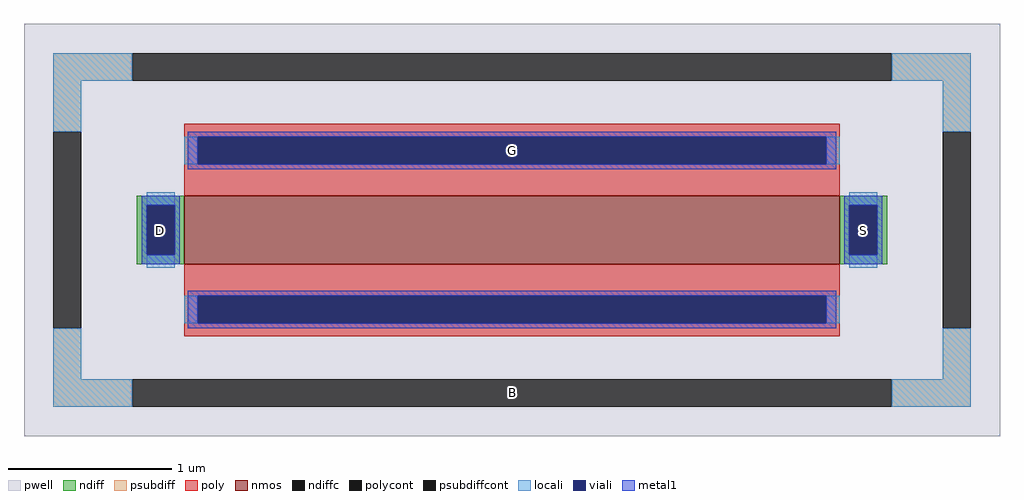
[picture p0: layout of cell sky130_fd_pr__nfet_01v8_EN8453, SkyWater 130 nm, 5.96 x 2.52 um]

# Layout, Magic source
magic
tech sky130A
magscale 1 2
<< pwell >>
rect -596 -252 596 252
<< nmos >>
rect -400 -42 400 42
<< ndiff >>
rect -458 30 -400 42
rect -458 -30 -446 30
rect -412 -30 -400 30
rect -458 -42 -400 -30
rect 400 30 458 42
rect 400 -30 412 30
rect 446 -30 458 30
rect 400 -42 458 -30
<< ndiffc >>
rect -446 -30 -412 30
rect 412 -30 446 30
<< psubdiff >>
rect -560 182 -464 216
rect 464 182 560 216
rect -560 120 -526 182
rect 526 120 560 182
rect -560 -182 -526 -120
rect 526 -182 560 -120
rect -560 -216 -464 -182
rect 464 -216 560 -182
<< psubdiffcont >>
rect -464 182 464 216
rect -560 -120 -526 120
rect 526 -120 560 120
rect -464 -216 464 -182
<< poly >>
rect -400 114 400 130
rect -400 80 -384 114
rect 384 80 400 114
rect -400 42 400 80
rect -400 -80 400 -42
rect -400 -114 -384 -80
rect 384 -114 400 -80
rect -400 -130 400 -114
<< polycont >>
rect -384 80 384 114
rect -384 -114 384 -80
<< locali >>
rect -560 182 -464 216
rect 464 182 560 216
rect -560 120 -526 182
rect 526 120 560 182
rect -400 80 -384 114
rect 384 80 400 114
rect -446 30 -412 46
rect -446 -46 -412 -30
rect 412 30 446 46
rect 412 -46 446 -30
rect -400 -114 -384 -80
rect 384 -114 400 -80
rect -560 -182 -526 -120
rect 526 -182 560 -120
rect -560 -216 -464 -182
rect 464 -216 560 -182
<< viali >>
rect -384 80 384 114
rect -446 -30 -412 30
rect 412 -30 446 30
rect -384 -114 384 -80
<< metal1 >>
rect -396 114 396 120
rect -396 80 -384 114
rect 384 80 396 114
rect -396 74 396 80
rect -452 30 -406 42
rect -452 -30 -446 30
rect -412 -30 -406 30
rect -452 -42 -406 -30
rect 406 30 452 42
rect 406 -30 412 30
rect 446 -30 452 30
rect 406 -42 452 -30
rect -396 -80 396 -74
rect -396 -114 -384 -80
rect 384 -114 396 -80
rect -396 -120 396 -114
<< labels >>
rlabel psubdiffcont 0 -199 0 -199 0 B
port 1 nsew
rlabel ndiffc -429 0 -429 0 0 D
port 2 nsew
rlabel ndiffc 429 0 429 0 0 S
port 3 nsew
rlabel polycont 0 97 0 97 0 G
port 4 nsew
<< properties >>
string FIXED_BBOX -543 -199 543 199
string gencell sky130_fd_pr__nfet_01v8
string library sky130
string parameters w 0.42 l 4.0 m 1 nf 1 diffcov 100 polycov 100 guard 1 glc 1 grc 1 gtc 1 gbc 1 tbcov 100 rlcov 100 topc 1 botc 1 poverlap 0 doverlap 1 lmin 0.15 wmin 0.42 class mosfet compatible {sky130_fd_pr__nfet_01v8 sky130_fd_pr__nfet_01v8_lvt  sky130_fd_bs_flash__special_sonosfet_star  sky130_fd_pr__nfet_g5v0d10v5 sky130_fd_pr__nfet_05v0_nvt  sky130_fd_pr__nfet_03v3_nvt} full_metal 1 conn_gates 0 viasrc 100 viadrn 100 viagate 100 viagb 0 viagr 0 viagl 0 viagt 0 doports 1
<< end >>
